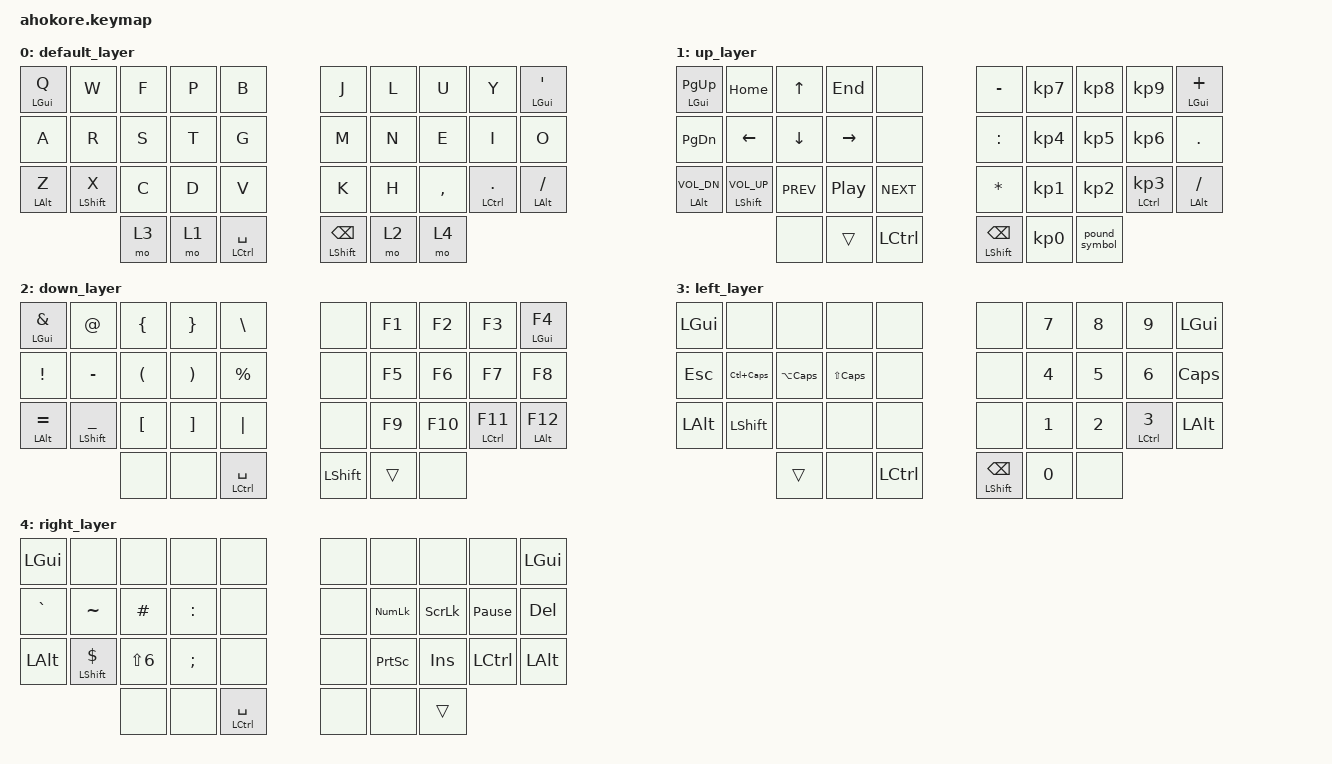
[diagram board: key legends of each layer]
/*
 * Copyright (c) 2020 The ZMK Contributors
 *
 * SPDX-License-Identifier: MIT
 */

#include <behaviors.dtsi>
#include <dt-bindings/zmk/keys.h>
#include <dt-bindings/zmk/bt.h>

/ {
    macros {
        pound_symbol: pound_symbol {
            label = "ZM_pound_symbol";
            compatible = "zmk,behavior-macro";
            #binding-cells = <0>;
            wait-ms = <10>;
            bindings
                = <&macro_press &kp LALT>
                , <&macro_tap &kp KP_N0 &kp KP_N1 &kp KP_N6 &kp KP_N3>
                , <&macro_release &kp LALT>
                ;
        };
    };
};

/ {
    behaviors {
        hm: homerow_mods {
            compatible = "zmk,behavior-hold-tap";
            label = "HOMEROW_MODS";
            #binding-cells = <2>;
            tapping_term_ms = <300>;
            flavor = "balanced";
            bindings = <&kp>, <&kp>;
        };

        combos {
            compatible = "zmk,combos";
            combo_left_tab {
                timeout-ms = <50>;
                key-positions = <22 23>;
                bindings = <&kp TAB>;
                layers = <0 1 2 3 4>;
            };
            combo_left_enter {
                timeout-ms = <50>;
                key-positions = <23 24>;
                bindings = <&kp ENTER>;
                layers = <0 1 2 3 4>;
            };
            combo_right_tab {
                timeout-ms = <50>;
                key-positions = <26 27>;
                bindings = <&kp TAB>;
                layers = <0 1 2 3 4>;
            };
            combo_right_enter {
                timeout-ms = <50>;
                key-positions = <25 26>;
                bindings = <&kp ENTER>;
                layers = <0 1 2 3 4>;
            };
        };
    }; 

    keymap {
        compatible = "zmk,keymap";

        default_layer {
            bindings = <
&hm LGUI Q        &kp W              &kp F           &kp P           &kp B           &kp J               &kp L           &kp U           &kp Y           &hm LGUI SQT
&kp A             &kp R              &kp S           &kp T           &kp G           &kp M               &kp N           &kp E           &kp I           &kp O
&hm LALT Z        &hm LSHFT X        &kp C           &kp D           &kp V           &kp K               &kp H           &kp COMMA       &hm LCTRL DOT   &hm LALT FSLH
                                     &mo 3           &mo 1           &hm LCTRL SPACE &hm LSHFT BSPC      &mo 2           &mo 4
            >;
        };

        up_layer {      
            bindings = <      
&hm LGUI PG_UP    &kp HOME           &kp UP          &kp END         &none           &kp MINUS           &kp KP_N7       &kp KP_N8       &kp KP_N9       &hm LGUI PLUS
&kp PG_DN         &kp LEFT           &kp DOWN        &kp RIGHT       &none           &kp COLON           &kp KP_N4       &kp KP_N5       &kp KP_N6       &kp DOT
&hm LALT C_VOL_DN &hm LSHFT C_VOL_UP &kp C_PREV      &kp C_PP        &kp C_NEXT      &kp STAR            &kp KP_N1       &kp KP_N2       &hm LCTRL KP_N3 &hm LALT FSLH
                                     &none           &trans          &kp LCTL        &hm LSHFT BSPC      &kp KP_N0       &pound_symbol
            >;
        };

        down_layer {
            bindings = <
&hm LGUI AMPS     &kp AT             &kp LBRC        &kp RBRC        &kp BSLH        &none               &kp F1          &kp F2          &kp F3          &hm LGUI F4
&kp EXCL          &kp MINUS          &kp LPAR        &kp RPAR        &kp PERCENT     &none               &kp F5          &kp F6          &kp F7          &kp F8
&hm LALT EQUAL    &hm LSHFT UNDER    &kp LBKT        &kp RBKT        &kp PIPE        &none               &kp F9          &kp F10         &hm LCTRL F11   &hm LALT F12
                                     &none           &none           &hm LCTRL SPACE &kp LSHFT           &trans          &none
            >;
        };

        left_layer {
            bindings = <
&kp LGUI          &none              &none           &none           &none           &none               &kp N7          &kp N8          &kp N9          &kp LGUI
&kp ESC           &kp LC(CAPS)       &kp LA(CAPS)    &kp LS(CAPS)    &none           &none               &kp N4          &kp N5          &kp N6          &kp CAPS
&kp LALT          &kp LSHFT          &none           &none           &none           &none               &kp N1          &kp N2          &hm LCTRL N3    &kp LALT
                                     &trans          &none           &kp LCTL        &hm LSHFT BSPC      &kp N0          &none
            >;
        };
                    
        right_layer {
            bindings = <  
&kp LGUI          &none              &none           &none           &none           &none               &none           &none           &none           &kp LGUI
&kp GRAVE         &kp TILDE          &kp HASH        &kp COLON       &none           &none               &kp KP_NLCK     &kp SLCK        &kp PAUSE_BREAK &kp DELETE
&kp LALT          &hm LSHFT DOLLAR   &kp LS(N6)      &kp SEMI        &none           &none               &kp PSCRN       &kp INSERT      &kp LCTRL       &kp LALT
                                     &none           &none           &hm LCTRL SPACE &none               &none           &trans
            >;
        };
    };
};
